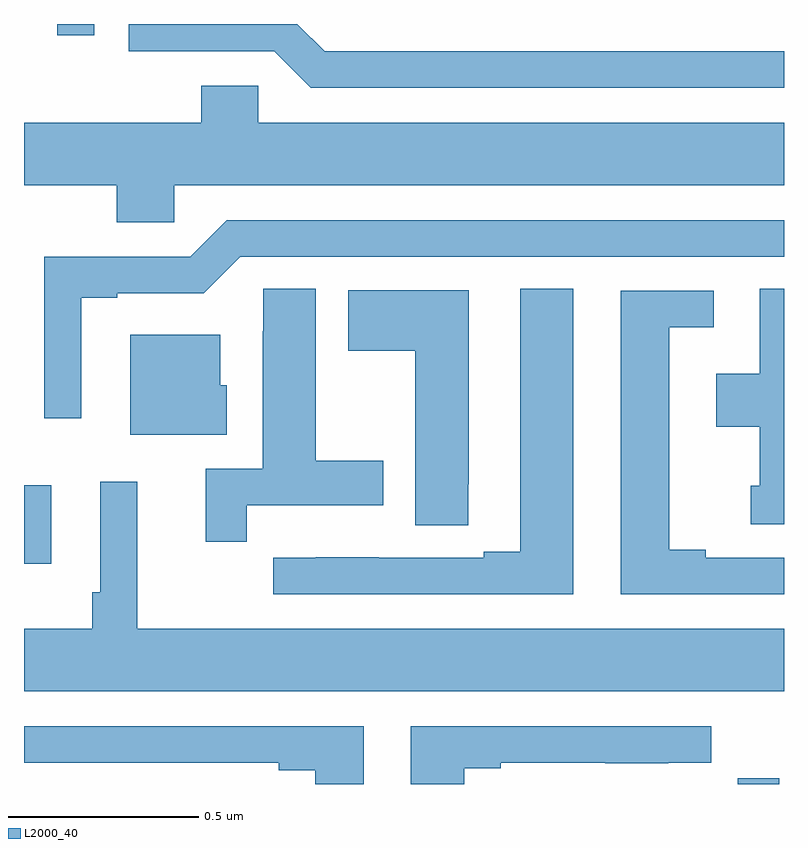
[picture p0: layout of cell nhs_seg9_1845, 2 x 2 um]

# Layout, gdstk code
import gdstk
lib = gdstk.Library(unit=1e-6, precision=1e-09)
def R(c, l, rs):  # rectangles x0, y0, x1, y1
    for r in rs: c.add(gdstk.rectangle(r[:2], r[2:], *l))
def P(c, l, *ps):  # polygons
    for p in ps: c.add(gdstk.Polygon(p, *l))
L2000_40 = (2000, 40)

nhs_seg9_1845 = lib.new_cell('nhs_seg9_1845')
R(nhs_seg9_1845, L2000_40, [(134.878,1205.5,134.987,1205.515), (133,1206.08,133.072,1206.286), (133.088,1207.47,133.185,1207.5)])
P(nhs_seg9_1845, L2000_40, [(135,1207.428),(133.791,1207.428),(133.719,1207.5),(133.275,1207.5),(133.275,1207.428),(133.659,1207.428),(133.755,1207.332),(135,1207.332)],
  [(133.395,1207.076),(135,1207.076),(135,1207.24),(133.617,1207.24),(133.617,1207.338),(133.466,1207.338),(133.466,1207.24),(133,1207.24),(133,1207.076),(133.244,1207.076),(133.244,1206.978),(133.395,1206.978)],
  [(133.15,1206.78),(133.246,1206.78),(133.246,1206.792),(133.473,1206.792),(133.569,1206.888),(135,1206.888),(135,1206.984),(133.533,1206.984),(133.437,1206.888),(133.053,1206.888),(133.053,1206.462),(133.15,1206.462)],
  [(134.446,1206.803),(134.306,1206.803),(134.306,1206.111),(134.21,1206.111),(134.21,1206.096),(133.934,1206.096),(133.934,1206.097),(133.768,1206.097),(133.768,1206.096),(133.656,1206.096),(133.656,1206),(134.446,1206)],
  [(133.586,1206.234),(133.945,1206.234),(133.945,1206.351),(133.768,1206.351),(133.768,1206.803),(133.629,1206.803),(133.629,1206.692),(133.628,1206.692),(133.628,1206.33),(133.478,1206.33),(133.478,1206.138),(133.586,1206.138)],
  [(135,1206.803),(134.936,1206.803),(134.936,1206.58),(134.822,1206.58),(134.822,1206.44),(134.936,1206.44),(134.936,1206.285),(134.912,1206.285),(134.912,1206.183),(135,1206.183)],
  [(134.169,1206.289),(134.17,1206.289),(134.17,1206.799),(133.853,1206.799),(133.853,1206.64),(134.03,1206.64),(134.03,1206.181),(134.169,1206.181)],
  [(135,1206.096),(134.794,1206.096),(134.794,1206.116),(134.698,1206.116),(134.698,1206.702),(134.815,1206.702),(134.815,1206.798),(134.57,1206.798),(134.57,1206),(135,1206)],
  [(133.534,1206.549),(133.516,1206.549),(133.516,1206.682),(133.28,1206.682),(133.28,1206.419),(133.534,1206.419)],
  [(135,1205.908),(133.298,1205.908),(133.298,1206.295),(133.2,1206.295),(133.2,1206.004),(133.18,1206.004),(133.18,1205.908),(133,1205.908),(133,1205.744),(135,1205.744)],
  [(134.158,1205.541),(134.254,1205.541),(134.254,1205.556),(134.53,1205.556),(134.53,1205.555),(134.696,1205.555),(134.696,1205.556),(134.809,1205.556),(134.809,1205.652),(134.018,1205.652),(134.018,1205.5),(134.158,1205.5)],
  [(133.894,1205.652),(133,1205.652),(133,1205.556),(133.67,1205.556),(133.67,1205.536),(133.766,1205.536),(133.766,1205.5),(133.894,1205.5)])

lib.write_gds('nhs_seg9_1845.gds')
